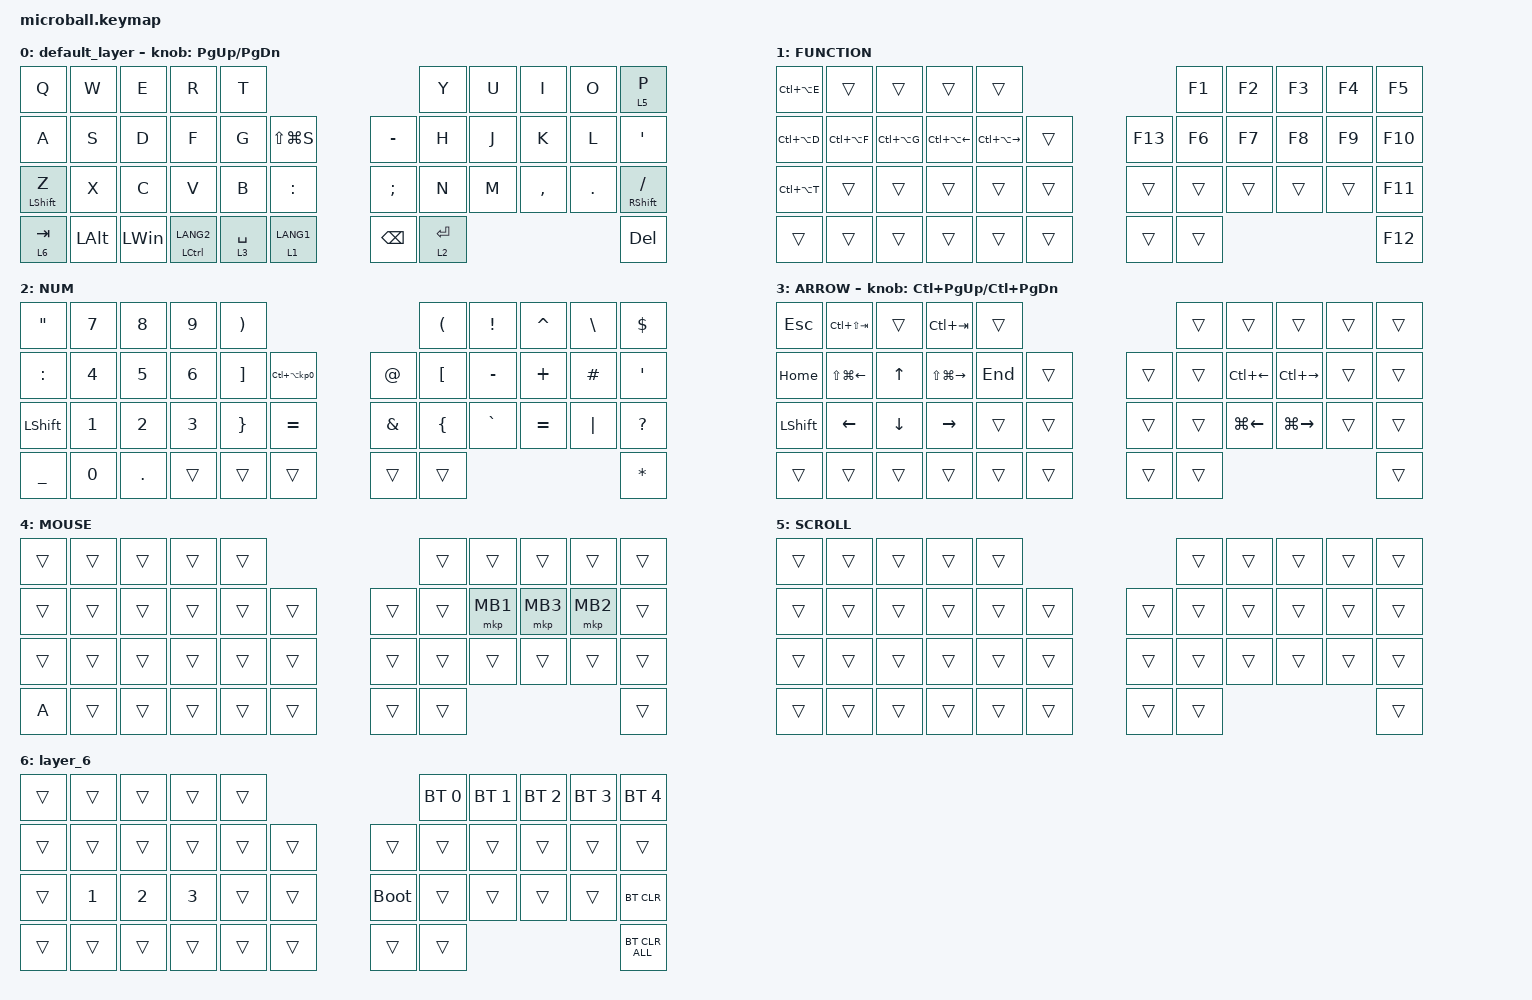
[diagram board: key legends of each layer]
#include <behaviors.dtsi>
#include <dt-bindings/zmk/bt.h>
#include <dt-bindings/zmk/keys.h>
#include <dt-bindings/zmk/pointing.h>

#define MOUSE 4
#define SCROLL 5
#define NUM 6

&mt {
    flavor = "balanced";
    quick-tap-ms = <0>;
};

/ {
    combos {
        compatible = "zmk,combos";

        tab {
            bindings = <&kp TAB>;
            key-positions = <11 12>;
        };

        shift_tab {
            bindings = <&kp LS(TAB)>;
            key-positions = <12 13>;
        };

        muhennkann {
            bindings = <&to_layer_0 INT_MUHENKAN>;
            key-positions = <11 10>;
        };

        double_quotation {
            bindings = <&kp DOUBLE_QUOTES>;
            key-positions = <20 21>;
        };

        eq {
            bindings = <&kp EQUAL>;
            key-positions = <24 25>;
        };
    };

    macros {
        to_layer_0: to_layer_0 {
            compatible = "zmk,behavior-macro-one-param";
            #binding-cells = <1>;
            bindings = <&to 0 &macro_param_1to1 &kp MACRO_PLACEHOLDER>;
            label = "TO_LAYER_0";
        };
    };

    behaviors {
        lt_to_layer_0: lt_to_layer_0 {
            compatible = "zmk,behavior-hold-tap";
            label = "LAYER_TAP_TO_0";
            bindings = <&mo>, <&to_layer_0>;

            #binding-cells = <2>;
            tapping-term-ms = <200>;
        };
    };

    keymap {
        compatible = "zmk,keymap";

        default_layer {
            bindings = <
&kp Q             &kp W         &kp E         &kp R            &kp T                                                   &kp Y        &kp U  &kp I      &kp O    &lt 5 P
&kp A             &kp S         &kp D         &kp F            &kp G        &kp LS(LG(S))               &kp MINUS      &kp H        &kp J  &kp K      &kp L    &kp SINGLE_QUOTE
&mt LEFT_SHIFT Z  &kp X         &kp C         &kp V            &kp B        &kp COLON                   &kp SEMICOLON  &kp N        &kp M  &kp COMMA  &kp DOT  &mt RSHIFT SLASH
&lt 6 TAB         &kp LEFT_ALT  &kp LEFT_WIN  &mt LCTRL LANG2  &lt 3 SPACE  &lt_to_layer_0 1 LANG1      &kp BACKSPACE  &lt 2 ENTER                             &kp DEL
            >;

            sensor-bindings = <&inc_dec_kp PG_UP PAGE_DOWN>;
        };

        FUNCTION {
            bindings = <
&kp LC(LA(E))  &trans         &trans         &trans                  &trans                                        &kp F1  &kp F2  &kp F3  &kp F4  &kp F5
&kp LC(LA(D))  &kp LC(LA(F))  &kp LC(LA(G))  &kp LC(LA(LEFT_ARROW))  &kp LC(LA(RIGHT_ARROW))  &trans      &kp F13  &kp F6  &kp F7  &kp F8  &kp F9  &kp F10
&kp LC(LA(T))  &trans         &trans         &trans                  &trans                   &trans      &trans   &trans  &trans  &trans  &trans  &kp F11
&trans         &trans         &trans         &trans                  &trans                   &trans      &trans   &trans                          &kp F12
            >;
        };

        NUM {
            bindings = <
&kp DOUBLE_QUOTES  &kp N7        &kp N8        &kp N9        &kp RIGHT_PARENTHESIS                                              &kp LEFT_PARENTHESIS  &kp EXCLAMATION  &kp CARET  &kp BACKSLASH  &kp DOLLAR
&kp COLON          &kp NUMBER_4  &kp N5        &kp NUMBER_6  &kp RIGHT_BRACKET      &kp LC(LA(KP_NUMBER_0))      &kp AT_SIGN    &kp LEFT_BRACKET      &kp MINUS        &kp PLUS   &kp HASH       &kp SINGLE_QUOTE
&kp LEFT_SHIFT     &kp NUMBER_1  &kp NUMBER_2  &kp NUMBER_3  &kp RIGHT_BRACE        &kp EQUAL                    &kp AMPERSAND  &kp LEFT_BRACE        &kp GRAVE        &kp EQUAL  &kp PIPE       &kp QUESTION
&kp UNDERSCORE     &kp NUMBER_0  &kp PERIOD    &trans        &trans                 &trans                       &trans         &trans                                                           &kp ASTERISK
            >;
        };

        ARROW {
            bindings = <
&kp ESCAPE      &kp LC(LS(TAB))         &trans          &kp LC(TAB)              &trans                       &trans  &trans              &trans               &trans  &trans
&kp HOME        &kp LS(LG(LEFT_ARROW))  &kp UP_ARROW    &kp LS(LG(RIGHT_ARROW))  &kp END  &trans      &trans  &trans  &kp LC(LEFT_ARROW)  &kp LC(RIGHT_ARROW)  &trans  &trans
&kp LEFT_SHIFT  &kp LEFT_ARROW          &kp DOWN_ARROW  &kp RIGHT_ARROW          &trans   &trans      &trans  &trans  &kp LG(LEFT_ARROW)  &kp LG(RIGHT_ARROW)  &trans  &trans
&trans          &trans                  &trans          &trans                   &trans   &trans      &trans  &trans                                                   &trans
            >;

            sensor-bindings = <&inc_dec_kp LC(PAGE_UP) LC(PAGE_DOWN)>;
        };

        MOUSE {
            bindings = <
&trans  &trans  &trans  &trans  &trans                      &trans  &trans    &trans    &trans    &trans
&trans  &trans  &trans  &trans  &trans  &trans      &trans  &trans  &mkp MB1  &mkp MB3  &mkp MB2  &trans
&trans  &trans  &trans  &trans  &trans  &trans      &trans  &trans  &trans    &trans    &trans    &trans
&kp A   &trans  &trans  &trans  &trans  &trans      &trans  &trans                                &trans
            >;
        };

        SCROLL {
            bindings = <
&trans  &trans  &trans  &trans  &trans                      &trans  &trans  &trans  &trans  &trans
&trans  &trans  &trans  &trans  &trans  &trans      &trans  &trans  &trans  &trans  &trans  &trans
&trans  &trans  &trans  &trans  &trans  &trans      &trans  &trans  &trans  &trans  &trans  &trans
&trans  &trans  &trans  &trans  &trans  &trans      &trans  &trans                          &trans
            >;
        };

        layer_6 {
            bindings = <
&trans  &trans        &trans        &trans        &trans                           &bt BT_SEL 0  &bt BT_SEL 1  &bt BT_SEL 2  &bt BT_SEL 3  &bt BT_SEL 4
&trans  &trans        &trans        &trans        &trans  &trans      &trans       &trans        &trans        &trans        &trans        &trans
&trans  &kp NUMBER_1  &kp NUMBER_2  &kp NUMBER_3  &trans  &trans      &bootloader  &trans        &trans        &trans        &trans        &bt BT_CLR
&trans  &trans        &trans        &trans        &trans  &trans      &trans       &trans                                                  &bt BT_CLR_ALL
            >;
        };
    };
};
